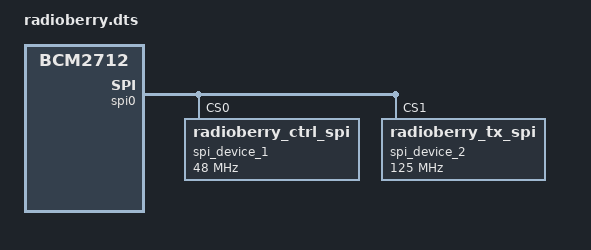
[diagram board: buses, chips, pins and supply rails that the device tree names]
/*
 * Device tree overlay for radioberry
 *
 * Compile:
 * dtc -@ -I dts -O dtb -o radioberry.dtbo radioberry.dts
 * 
 * for testing: sudo dtoverlay radioberry.dtbo 
 *
 * add following line in config.txt: dtoverlay=radioberry followed by reboot
 *
 *
 *  dtc -I fs /proc/device-tree > devtree.txt (decompile the dt and find the definition for radioberry)
 *
 * 	using : dtc -v Version: DTC 1.4.7
 *
 */


/dts-v1/;
/plugin/;

/{
    compatible = "brcm,bcm2712";

	fragment@0 {
		target = <&spidev0>;
		__overlay__ {
			status = "disabled";
		};
	};
	
	fragment@1 {
		target = <&spidev1>;
		__overlay__ {
			status = "disabled";
		};
	};

	fragment@2 {
		target = <&spi0>;
		__overlay__ {
			status = "okay";
			#address-cells = <1>;
			#size-cells = <0>;

			spi_device_1: radioberry_spi@0 {
				compatible = "radioberry_ctrl_spi";
				spi-max-frequency = <48000000>;
				reg = <0x0>; 
				spi-bits-per-word = <8>;
				spi-mode = <3>; 
				status = "okay";
			};
			
			spi_device_2: radioberry_spi@1 {
				compatible = "radioberry_tx_spi";
				reg = <0x1>; 
				spi-max-frequency = <125000000>;
				spi-bits-per-word = <8>;
				spi-mode = <3>; 
				status = "okay";
			};
			
		};
	};
		
	fragment@3 {
		target-path = "/";
		__overlay__ {
				radioberry {
					compatible = "sdr,radioberry";
				};
			};
	};
	
};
